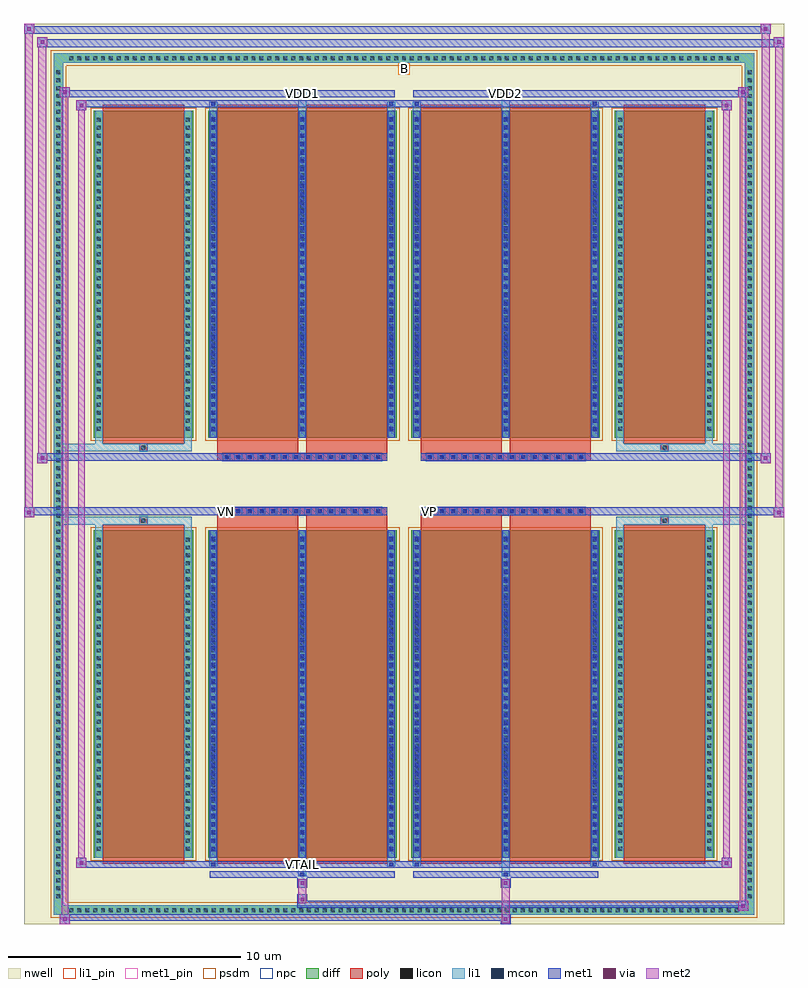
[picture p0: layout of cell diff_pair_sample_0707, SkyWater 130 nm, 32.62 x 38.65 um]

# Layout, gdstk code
import gdstk
lib = gdstk.Library(unit=1e-6, precision=5e-09)
def R(c, l, rs):  # rectangles x0, y0, x1, y1
    for r in rs: c.add(gdstk.rectangle(r[:2], r[2:], *l))
def A(c, l, x, y, w, h, nx, ny, dx, dy):  # array of equal rectangles
    R(c, l, [(x+i*dx, y+j*dy, x+i*dx+w, y+j*dy+h) for i in range(nx) for j in range(ny)])
def P(c, l, *ps):  # polygons
    for p in ps: c.add(gdstk.Polygon(p, *l))
nwell = (64, 20)
diff = (65, 20)
poly = (66, 20)
licon = (66, 44)
li1_pin = (67, 16)
li1 = (67, 20)
mcon = (67, 44)
met1_pin = (68, 16)
met1 = (68, 20)
via = (68, 44)
met2 = (69, 20)
psdm = (94, 20)
npc = (95, 20)

diff_pair_sample_0707 = lib.new_cell('diff_pair_sample_0707')
R(diff_pair_sample_0707, nwell, [(-16.31,-18.89,16.31,19.76), (-13.63,-17.08,-0.01,-0.8), (0.01,-17.08,13.63,-0.8), (-13.63,0.8,-0.01,17.08), (0.01,0.8,13.63,17.08)])
A(diff_pair_sample_0707, diff, -14.485, -18.49, 0.41, 0.41, 85, 2, 0.34, 36.57)
A(diff_pair_sample_0707, diff, -15.04, -17.885, 0.41, 0.41, 1, 105, 0, 0.34)
A(diff_pair_sample_0707, diff, 14.63, -17.885, 0.41, 0.41, 1, 105, 0, 0.34)
R(diff_pair_sample_0707, diff, [(-14.485,-18.49,14.485,-18.08), (-15.04,-17.885,-14.63,17.885), (14.63,-17.885,15.04,17.885), (-13.32,-16.035,-9.05,-1.985), (-8.41,-16.035,-0.32,-1.985), (0.32,-16.035,8.41,-1.985), (9.05,-16.035,13.32,-1.985), (-13.32,1.985,-9.05,16.035), (-8.41,1.985,-0.32,16.035), (0.32,1.985,8.41,16.035), (9.05,1.985,13.32,16.035), (-14.485,18.08,14.485,18.49)])
P(diff_pair_sample_0707, diff, [(15.04,18.49),(-15.04,18.49),(-15.04,-18.08),(-14.63,-18.08),(-14.63,18.08),(14.63,18.08),(14.63,-18.08),(-14.63,-18.08),(-15.04,-18.08),(-15.04,-18.49),(15.04,-18.49)])
A(diff_pair_sample_0707, poly, -7.78, -1.33, 0.33, 0.33, 14, 2, 0.5, 2.33)
A(diff_pair_sample_0707, poly, 0.95, -1.33, 0.33, 0.33, 14, 2, 0.5, 2.33)
R(diff_pair_sample_0707, poly, [(-12.93,-16.285,-9.44,-1.735), (-8.02,-16.285,-4.53,-1.735), (-4.2,-16.285,-0.71,-1.735), (0.71,-16.285,4.2,-1.735), (4.53,-16.285,8.02,-1.735), (9.44,-16.285,12.93,-1.735), (-11.35,-1.735,-11.02,-1.405), (-11.35,-1.735,-11.02,-1.405), (-8.02,-1.735,-4.53,-1.33), (-4.2,-1.735,-0.71,-1.33), (0.71,-1.735,4.2,-1.33), (4.53,-1.735,8.02,-1.33), (11.02,-1.735,11.35,-1.405), (11.02,-1.735,11.35,-1.405), (-8.02,-1.33,-0.71,-1), (0.71,-1.33,8.02,-1), (-8.02,1,-0.71,1.33), (0.71,1,8.02,1.33), (-8.02,1.33,-4.53,1.735), (-4.2,1.33,-0.71,1.735), (0.71,1.33,4.2,1.735), (4.53,1.33,8.02,1.735), (-11.35,1.405,-11.02,1.735), (-11.35,1.405,-11.02,1.735), (11.02,1.405,11.35,1.735), (11.02,1.405,11.35,1.735), (-12.93,1.735,-9.44,16.285), (-8.02,1.735,-4.53,16.285), (-4.2,1.735,-0.71,16.285), (0.71,1.735,4.2,16.285), (4.53,1.735,8.02,16.285), (9.44,1.735,12.93,16.285)])
A(diff_pair_sample_0707, licon, -14.365, -18.37, 0.17, 0.17, 85, 2, 0.34, 36.57)
A(diff_pair_sample_0707, licon, -14.92, -17.765, 0.17, 0.17, 1, 105, 0, 0.34)
A(diff_pair_sample_0707, licon, 14.75, -17.765, 0.17, 0.17, 1, 105, 0, 0.34)
A(diff_pair_sample_0707, licon, -13.18, -15.725, 0.17, 0.17, 1, 40, 0, 0.34)
A(diff_pair_sample_0707, licon, -9.36, -15.725, 0.17, 0.17, 1, 40, 0, 0.34)
A(diff_pair_sample_0707, licon, -8.27, -15.725, 0.17, 0.17, 3, 40, 3.82, 0.34)
A(diff_pair_sample_0707, licon, 0.46, -15.725, 0.17, 0.17, 3, 40, 3.82, 0.34)
A(diff_pair_sample_0707, licon, 9.19, -15.725, 0.17, 0.17, 1, 40, 0, 0.34)
A(diff_pair_sample_0707, licon, 13.01, -15.725, 0.17, 0.17, 1, 40, 0, 0.34)
A(diff_pair_sample_0707, licon, -7.7, -1.25, 0.17, 0.17, 14, 2, 0.5, 2.33)
A(diff_pair_sample_0707, licon, 1.03, -1.25, 0.17, 0.17, 14, 2, 0.5, 2.33)
A(diff_pair_sample_0707, licon, -13.18, 2.295, 0.17, 0.17, 1, 40, 0, 0.34)
A(diff_pair_sample_0707, licon, -9.36, 2.295, 0.17, 0.17, 1, 40, 0, 0.34)
A(diff_pair_sample_0707, licon, -8.27, 2.295, 0.17, 0.17, 3, 40, 3.82, 0.34)
A(diff_pair_sample_0707, licon, 0.46, 2.295, 0.17, 0.17, 3, 40, 3.82, 0.34)
A(diff_pair_sample_0707, licon, 9.19, 2.295, 0.17, 0.17, 1, 40, 0, 0.34)
A(diff_pair_sample_0707, licon, 13.01, 2.295, 0.17, 0.17, 1, 40, 0, 0.34)
R(diff_pair_sample_0707, licon, [(-11.27,-1.655,-11.1,-1.485), (11.1,-1.655,11.27,-1.485), (-11.27,1.485,-11.1,1.655), (11.1,1.485,11.27,1.655)])
R(diff_pair_sample_0707, li1_pin, [(-0.25,17.58,0.25,18.08)])
A(diff_pair_sample_0707, li1, -14.445, -18.45, 0.33, 0.33, 85, 2, 0.34, 36.57)
A(diff_pair_sample_0707, li1, -15, -17.845, 0.33, 0.33, 1, 105, 0, 0.34)
A(diff_pair_sample_0707, li1, 14.67, -17.845, 0.33, 0.33, 1, 105, 0, 0.34)
A(diff_pair_sample_0707, li1, -8.35, -16.035, 0.33, 14.05, 3, 2, 3.82, 18.02)
A(diff_pair_sample_0707, li1, 0.38, -16.035, 0.33, 14.05, 3, 2, 3.82, 18.02)
A(diff_pair_sample_0707, li1, -13.26, -15.805, 0.33, 0.33, 1, 40, 0, 0.34)
A(diff_pair_sample_0707, li1, -9.44, -15.805, 0.33, 0.33, 1, 40, 0, 0.34)
A(diff_pair_sample_0707, li1, -8.35, -15.805, 0.33, 0.33, 3, 40, 3.82, 0.34)
A(diff_pair_sample_0707, li1, 0.38, -15.805, 0.33, 0.33, 3, 40, 3.82, 0.34)
A(diff_pair_sample_0707, li1, 9.11, -15.805, 0.33, 0.33, 1, 40, 0, 0.34)
A(diff_pair_sample_0707, li1, 12.93, -15.805, 0.33, 0.33, 1, 40, 0, 0.34)
A(diff_pair_sample_0707, li1, -8.27, -15.755, 0.17, 0.17, 3, 38, 3.82, 0.36)
A(diff_pair_sample_0707, li1, -8.27, -15.755, 0.17, 13.49, 3, 2, 3.82, 18.02)
A(diff_pair_sample_0707, li1, 0.46, -15.755, 0.17, 0.17, 3, 38, 3.82, 0.36)
A(diff_pair_sample_0707, li1, 0.46, -15.755, 0.17, 13.49, 3, 2, 3.82, 18.02)
A(diff_pair_sample_0707, li1, -7.78, -1.33, 0.33, 0.33, 14, 2, 0.5, 2.33)
A(diff_pair_sample_0707, li1, 0.95, -1.33, 0.33, 0.33, 14, 2, 0.5, 2.33)
A(diff_pair_sample_0707, li1, -13.26, 2.215, 0.33, 0.33, 1, 40, 0, 0.34)
A(diff_pair_sample_0707, li1, -9.44, 2.215, 0.33, 0.33, 1, 40, 0, 0.34)
A(diff_pair_sample_0707, li1, -8.35, 2.215, 0.33, 0.33, 3, 40, 3.82, 0.34)
A(diff_pair_sample_0707, li1, 0.38, 2.215, 0.33, 0.33, 3, 40, 3.82, 0.34)
A(diff_pair_sample_0707, li1, 9.11, 2.215, 0.33, 0.33, 1, 40, 0, 0.34)
A(diff_pair_sample_0707, li1, 12.93, 2.215, 0.33, 0.33, 1, 40, 0, 0.34)
A(diff_pair_sample_0707, li1, -8.27, 2.265, 0.17, 0.17, 3, 38, 3.82, 0.36)
A(diff_pair_sample_0707, li1, 0.46, 2.265, 0.17, 0.17, 3, 38, 3.82, 0.36)
R(diff_pair_sample_0707, li1, [(-15.04,-18.49,-14.63,-18.08), (-15.04,-18.49,-14.63,-18.08), (-14.63,-18.49,14.63,-18.08), (14.63,-18.49,15.04,-18.08), (14.63,-18.49,15.04,-18.08), (-15.04,-18.08,-14.63,18.08), (14.63,-18.08,15.04,18.08), (-4.53,-16.84,-4.2,-16.035), (-4.45,-16.84,-4.28,-16.67), (4.2,-16.84,4.53,-16.035), (4.28,-16.84,4.45,-16.67), (-8.35,-16.41,-8.02,-16.035), (-8.27,-16.41,-8.1,-16.24), (-0.71,-16.41,-0.38,-16.035), (-0.63,-16.41,-0.46,-16.24), (0.38,-16.41,0.71,-16.035), (0.46,-16.41,0.63,-16.24), (8.02,-16.41,8.35,-16.035), (8.1,-16.41,8.27,-16.24), (-13.26,-16.035,-12.93,-1.985), (-9.44,-16.035,-9.11,-1.985), (9.11,-16.035,9.44,-1.985), (12.93,-16.035,13.26,-1.985), (-13.26,-1.985,-12.93,-1.405), (-9.44,-1.985,-9.11,-1.405), (9.11,-1.985,9.44,-1.405), (12.93,-1.985,13.26,-1.405), (-15.04,-1.735,-11.35,-1.405), (-13.26,-1.735,-11.35,-1.405), (-11.35,-1.735,-11.02,-1.405), (-11.02,-1.735,-9.11,-1.405), (9.11,-1.735,11.02,-1.405), (11.02,-1.735,11.35,-1.405), (11.02,-1.735,15.04,-1.405), (11.35,-1.735,13.26,-1.405), (-15.04,1.405,-11.35,1.735), (-13.26,1.405,-11.35,1.735), (-13.26,1.405,-12.93,1.985), (-11.35,1.405,-11.02,1.735), (-11.02,1.405,-9.11,1.735), (-9.44,1.405,-9.11,1.985), (9.11,1.405,11.02,1.735), (9.11,1.405,9.44,1.985), (11.02,1.405,11.35,1.735), (11.02,1.405,15.04,1.735), (11.35,1.405,13.26,1.735), (12.93,1.405,13.26,1.985), (-13.26,1.985,-12.93,16.035), (-9.44,1.985,-9.11,16.035), (9.11,1.985,9.44,16.035), (12.93,1.985,13.26,16.035), (-8.35,16.035,-8.02,16.41), (-4.53,16.035,-4.2,16.84), (-0.71,16.035,-0.38,16.41), (0.38,16.035,0.71,16.41), (4.2,16.035,4.53,16.84), (8.02,16.035,8.35,16.41), (-8.27,16.24,-8.1,16.41), (-0.63,16.24,-0.46,16.41), (0.46,16.24,0.63,16.41), (8.1,16.24,8.27,16.41), (-4.45,16.67,-4.28,16.84), (4.28,16.67,4.45,16.84), (-15.04,18.08,-14.63,18.49), (-15.04,18.08,-14.63,18.49), (-14.63,18.08,14.63,18.49), (14.63,18.08,15.04,18.49), (14.63,18.08,15.04,18.49)])
A(diff_pair_sample_0707, mcon, -8.27, -15.755, 0.17, 0.17, 3, 38, 3.82, 0.36)
A(diff_pair_sample_0707, mcon, 0.46, -15.755, 0.17, 0.17, 3, 38, 3.82, 0.36)
A(diff_pair_sample_0707, mcon, -7.7, -1.25, 0.17, 0.17, 14, 2, 0.5, 2.33)
A(diff_pair_sample_0707, mcon, 1.03, -1.25, 0.17, 0.17, 14, 2, 0.5, 2.33)
A(diff_pair_sample_0707, mcon, -8.27, 2.265, 0.17, 0.17, 3, 38, 3.82, 0.36)
A(diff_pair_sample_0707, mcon, 0.46, 2.265, 0.17, 0.17, 3, 38, 3.82, 0.36)
R(diff_pair_sample_0707, mcon, [(-4.45,-16.84,-4.28,-16.67), (4.28,-16.84,4.45,-16.67), (-8.27,-16.41,-8.1,-16.24), (-0.63,-16.41,-0.46,-16.24), (0.46,-16.41,0.63,-16.24), (8.1,-16.41,8.27,-16.24), (-8.27,16.24,-8.1,16.41), (-0.63,16.24,-0.46,16.41), (0.46,16.24,0.63,16.41), (8.1,16.24,8.27,16.41), (-4.45,16.67,-4.28,16.84), (4.28,16.67,4.45,16.84)])
R(diff_pair_sample_0707, met1_pin, [(-4.5,-16.45,-4.23,-16.18), (-7.75,-1.29,-7.48,-1.02), (0.98,-1.29,1.25,-1.02), (-4.5,16.63,-4.23,16.9), (4.23,16.63,4.5,16.9)])
A(diff_pair_sample_0707, met1, -8.33, -16.035, 0.29, 14.05, 3, 2, 3.82, 18.02)
A(diff_pair_sample_0707, met1, 0.4, -16.035, 0.29, 14.05, 3, 2, 3.82, 18.02)
A(diff_pair_sample_0707, met1, -8.33, -15.815, 0.29, 0.29, 3, 38, 3.82, 0.36)
A(diff_pair_sample_0707, met1, 0.4, -15.815, 0.29, 0.29, 3, 38, 3.82, 0.36)
A(diff_pair_sample_0707, met1, -7.76, -1.31, 0.29, 0.29, 14, 2, 0.5, 2.33)
A(diff_pair_sample_0707, met1, 0.97, -1.31, 0.29, 0.29, 14, 2, 0.5, 2.33)
A(diff_pair_sample_0707, met1, -8.33, 2.205, 0.29, 0.29, 3, 38, 3.82, 0.36)
A(diff_pair_sample_0707, met1, 0.4, 2.205, 0.29, 0.29, 3, 38, 3.82, 0.36)
R(diff_pair_sample_0707, met1, [(-14.77,-18.89,-14.34,-18.46), (4.15,-18.89,4.58,-18.46), (-14.77,-18.75,4.58,-18.46), (14.34,-18.32,14.77,-17.89), (-4.58,-18.18,14.77,-17.89), (-4.58,-18.04,-4.15,-17.61), (-4.58,-17.33,-4.15,-16.9), (4.15,-17.33,4.58,-16.9), (-8.33,-16.9,-0.4,-16.61), (-4.51,-16.9,-4.22,-16.61), (0.4,-16.9,8.33,-16.61), (4.22,-16.9,4.51,-16.61), (-14.06,-16.47,-13.63,-16.04), (-14.06,-16.47,-8.33,-16.18), (-8.33,-16.47,-8.04,-16.18), (-8.33,-16.47,-0.4,-16.18), (-0.69,-16.47,-0.4,-16.18), (-0.4,-16.47,0.4,-16.18), (0.4,-16.47,0.69,-16.18), (0.4,-16.47,8.33,-16.18), (8.04,-16.47,8.33,-16.18), (8.33,-16.47,14.06,-16.18), (13.63,-16.47,14.06,-16.04), (-16.31,-1.43,-15.88,-1), (15.88,-1.43,16.31,-1), (-16.31,-1.33,-0.71,-1), (-8.02,-1.33,-0.71,-1), (0.71,-1.33,8.02,-1), (0.71,-1.33,16.31,-1), (-15.74,0.9,-15.31,1.33), (15.31,0.9,15.74,1.33), (-15.74,1,-8.02,1.33), (-8.02,1,-0.71,1.33), (0.71,1,8.02,1.33), (8.02,1,15.74,1.33), (-14.06,16.04,-13.63,16.47), (13.63,16.04,14.06,16.47), (-14.06,16.18,-8.33,16.47), (-8.33,16.18,-8.04,16.47), (-8.33,16.18,-0.4,16.47), (-0.69,16.18,-0.4,16.47), (-0.4,16.18,0.4,16.47), (0.4,16.18,0.69,16.47), (0.4,16.18,8.33,16.47), (8.04,16.18,8.33,16.47), (8.33,16.18,14.06,16.47), (-14.77,16.61,-14.34,17.04), (-14.77,16.61,-8.33,16.9), (-8.33,16.61,-0.4,16.9), (-4.51,16.61,-4.22,16.9), (0.4,16.61,8.33,16.9), (4.22,16.61,4.51,16.9), (8.33,16.61,14.77,16.9), (14.34,16.61,14.77,17.04), (-15.74,18.76,-15.31,19.19), (-15.74,18.76,-13.63,19.09), (-13.63,18.76,13.63,19.09), (13.63,18.76,16.31,19.09), (15.88,18.76,16.31,19.19), (-16.31,19.33,-15.88,19.76), (-16.31,19.33,-13.63,19.66), (-13.63,19.33,13.63,19.66), (13.63,19.33,15.74,19.66), (15.31,19.33,15.74,19.76)])
R(diff_pair_sample_0707, via, [(-14.63,-18.75,-14.48,-18.6), (4.29,-18.75,4.44,-18.6), (14.48,-18.18,14.63,-18.03), (-4.44,-17.9,-4.29,-17.75), (-4.44,-17.19,-4.29,-17.04), (4.29,-17.19,4.44,-17.04), (-13.92,-16.33,-13.77,-16.18), (13.77,-16.33,13.92,-16.18), (-16.17,-1.29,-16.02,-1.14), (16.02,-1.29,16.17,-1.14), (-15.6,1.04,-15.45,1.19), (15.45,1.04,15.6,1.19), (-13.92,16.18,-13.77,16.33), (13.77,16.18,13.92,16.33), (-14.63,16.75,-14.48,16.9), (14.48,16.75,14.63,16.9), (-15.6,18.9,-15.45,19.05), (16.02,18.9,16.17,19.05), (-16.17,19.47,-16.02,19.62), (15.45,19.47,15.6,19.62)])
R(diff_pair_sample_0707, met2, [(-14.77,-18.89,-14.34,-18.46), (-14.7,-18.89,-14.41,17.04), (-14.41,-18.89,-14.34,-18.46), (-14.72,-18.84,-14.39,-18.51), (4.2,-18.84,4.53,-18.51), (4.2,-18.51,4.53,-17.28), (14.34,-18.32,14.77,-17.89), (14.41,-18.32,14.7,17.04), (14.7,-18.32,14.77,-17.89), (14.39,-18.27,14.72,-17.94), (-4.53,-17.99,-4.2,-17.66), (-4.53,-17.66,-4.2,-17.28), (-4.53,-17.28,-4.2,-16.95), (4.2,-17.28,4.53,-16.95), (-14.06,-16.47,-13.63,-16.04), (-13.99,-16.47,-13.7,16.47), (-13.7,-16.47,-13.63,-16.04), (13.63,-16.47,14.06,-16.04), (13.7,-16.47,13.99,16.47), (13.99,-16.47,14.06,-16.04), (-14.01,-16.42,-13.68,-16.09), (13.68,-16.42,14.01,-16.09), (-16.31,-1.43,-15.88,-1), (-16.26,-1.43,-15.93,19.76), (-15.93,-1.43,-15.88,-1), (15.88,-1.43,16.31,-1), (15.93,-1.43,16.26,19.19), (16.26,-1.43,16.31,-1), (-16.26,-1.38,-15.93,-1.05), (15.93,-1.38,16.26,-1.05), (-15.74,0.9,-15.31,1.33), (-15.69,0.9,-15.36,19.19), (-15.36,0.9,-15.31,1.33), (15.31,0.9,15.74,1.33), (15.36,0.9,15.69,19.76), (15.69,0.9,15.74,1.33), (-15.69,0.95,-15.36,1.28), (15.36,0.95,15.69,1.28), (-14.06,16.04,-13.63,16.47), (-13.7,16.04,-13.63,16.47), (13.63,16.04,14.06,16.47), (13.99,16.04,14.06,16.47), (-14.01,16.09,-13.68,16.42), (13.68,16.09,14.01,16.42), (-14.77,16.61,-14.34,17.04), (-14.41,16.61,-14.34,17.04), (14.34,16.61,14.77,17.04), (14.7,16.61,14.77,17.04), (-14.72,16.66,-14.39,16.99), (14.39,16.66,14.72,16.99), (-15.74,18.76,-15.31,19.19), (-15.36,18.76,-15.31,19.19), (15.88,18.76,16.31,19.19), (16.26,18.76,16.31,19.19), (-15.69,18.81,-15.36,19.14), (15.93,18.81,16.26,19.14), (-16.31,19.33,-15.88,19.76), (-15.93,19.33,-15.88,19.76), (15.31,19.33,15.74,19.76), (15.69,19.33,15.74,19.76), (-16.26,19.38,-15.93,19.71), (15.36,19.38,15.69,19.71)])
R(diff_pair_sample_0707, psdm, [(-13.45,-16.165,-8.92,-1.855), (-8.54,-16.165,-0.19,-1.855), (0.19,-16.165,8.54,-1.855), (8.92,-16.165,13.45,-1.855), (-13.45,1.855,-8.92,16.165), (-8.54,1.855,-0.19,16.165), (0.19,1.855,8.54,16.165), (8.92,1.855,13.45,16.165)])
P(diff_pair_sample_0707, psdm, [(15.17,18.62),(-15.17,18.62),(-15.17,-17.95),(-14.5,-17.95),(-14.5,17.95),(14.5,17.95),(14.5,-17.95),(-14.5,-17.95),(-15.17,-17.95),(-15.17,-18.62),(15.17,-18.62)])
A(diff_pair_sample_0707, npc, -7.8, -1.35, 0.37, 0.37, 14, 2, 0.5, 2.33)
A(diff_pair_sample_0707, npc, 0.93, -1.35, 0.37, 0.37, 14, 2, 0.5, 2.33)
R(diff_pair_sample_0707, npc, [(-11.37,-1.755,-11,-1.385), (11,-1.755,11.37,-1.385), (-7.8,-1.35,-6.93,-0.98), (-7.8,-1.35,-6.93,-0.98), (-7.3,-1.35,-6.43,-0.98), (-7.3,-1.35,-6.43,-0.98), (-6.8,-1.35,-5.93,-0.98), (-6.8,-1.35,-5.93,-0.98), (-6.3,-1.35,-5.43,-0.98), (-6.3,-1.35,-5.43,-0.98), (-5.8,-1.35,-4.93,-0.98), (-5.8,-1.35,-4.93,-0.98), (-5.3,-1.35,-4.43,-0.98), (-5.3,-1.35,-4.43,-0.98), (-4.8,-1.35,-3.93,-0.98), (-4.8,-1.35,-3.93,-0.98), (-4.3,-1.35,-3.43,-0.98), (-4.3,-1.35,-3.43,-0.98), (-3.8,-1.35,-2.93,-0.98), (-3.8,-1.35,-2.93,-0.98), (-3.3,-1.35,-2.43,-0.98), (-3.3,-1.35,-2.43,-0.98), (-2.8,-1.35,-1.93,-0.98), (-2.8,-1.35,-1.93,-0.98), (-2.3,-1.35,-1.43,-0.98), (-2.3,-1.35,-1.43,-0.98), (-1.8,-1.35,-0.93,-0.98), (-1.8,-1.35,-0.93,-0.98), (0.93,-1.35,1.8,-0.98), (0.93,-1.35,1.8,-0.98), (1.43,-1.35,2.3,-0.98), (1.43,-1.35,2.3,-0.98), (1.93,-1.35,2.8,-0.98), (1.93,-1.35,2.8,-0.98), (2.43,-1.35,3.3,-0.98), (2.43,-1.35,3.3,-0.98), (2.93,-1.35,3.8,-0.98), (2.93,-1.35,3.8,-0.98), (3.43,-1.35,4.3,-0.98), (3.43,-1.35,4.3,-0.98), (3.93,-1.35,4.8,-0.98), (3.93,-1.35,4.8,-0.98), (4.43,-1.35,5.3,-0.98), (4.43,-1.35,5.3,-0.98), (4.93,-1.35,5.8,-0.98), (4.93,-1.35,5.8,-0.98), (5.43,-1.35,6.3,-0.98), (5.43,-1.35,6.3,-0.98), (5.93,-1.35,6.8,-0.98), (5.93,-1.35,6.8,-0.98), (6.43,-1.35,7.3,-0.98), (6.43,-1.35,7.3,-0.98), (6.93,-1.35,7.8,-0.98), (6.93,-1.35,7.8,-0.98), (-7.8,0.98,-6.93,1.35), (-7.8,0.98,-6.93,1.35), (-7.3,0.98,-6.43,1.35), (-7.3,0.98,-6.43,1.35), (-6.8,0.98,-5.93,1.35), (-6.8,0.98,-5.93,1.35), (-6.3,0.98,-5.43,1.35), (-6.3,0.98,-5.43,1.35), (-5.8,0.98,-4.93,1.35), (-5.8,0.98,-4.93,1.35), (-5.3,0.98,-4.43,1.35), (-5.3,0.98,-4.43,1.35), (-4.8,0.98,-3.93,1.35), (-4.8,0.98,-3.93,1.35), (-4.3,0.98,-3.43,1.35), (-4.3,0.98,-3.43,1.35), (-3.8,0.98,-2.93,1.35), (-3.8,0.98,-2.93,1.35), (-3.3,0.98,-2.43,1.35), (-3.3,0.98,-2.43,1.35), (-2.8,0.98,-1.93,1.35), (-2.8,0.98,-1.93,1.35), (-2.3,0.98,-1.43,1.35), (-2.3,0.98,-1.43,1.35), (-1.8,0.98,-0.93,1.35), (-1.8,0.98,-0.93,1.35), (0.93,0.98,1.8,1.35), (0.93,0.98,1.8,1.35), (1.43,0.98,2.3,1.35), (1.43,0.98,2.3,1.35), (1.93,0.98,2.8,1.35), (1.93,0.98,2.8,1.35), (2.43,0.98,3.3,1.35), (2.43,0.98,3.3,1.35), (2.93,0.98,3.8,1.35), (2.93,0.98,3.8,1.35), (3.43,0.98,4.3,1.35), (3.43,0.98,4.3,1.35), (3.93,0.98,4.8,1.35), (3.93,0.98,4.8,1.35), (4.43,0.98,5.3,1.35), (4.43,0.98,5.3,1.35), (4.93,0.98,5.8,1.35), (4.93,0.98,5.8,1.35), (5.43,0.98,6.3,1.35), (5.43,0.98,6.3,1.35), (5.93,0.98,6.8,1.35), (5.93,0.98,6.8,1.35), (6.43,0.98,7.3,1.35), (6.43,0.98,7.3,1.35), (6.93,0.98,7.8,1.35), (6.93,0.98,7.8,1.35), (-11.37,1.385,-11,1.755), (11,1.385,11.37,1.755)])
diff_pair_sample_0707.add(gdstk.Label('VTAIL', (-4.365,-16.315), layer=68, texttype=5))
diff_pair_sample_0707.add(gdstk.Label('VN', (-7.615,-1.155), layer=68, texttype=5))
diff_pair_sample_0707.add(gdstk.Label('VP', (1.115,-1.155), layer=68, texttype=5))
diff_pair_sample_0707.add(gdstk.Label('B', (0,17.83), layer=67, texttype=5))
diff_pair_sample_0707.add(gdstk.Label('VDD2', (4.365,16.765), layer=68, texttype=5))
diff_pair_sample_0707.add(gdstk.Label('VDD1', (-4.365,16.765), layer=68, texttype=5))

lib.write_gds('diff_pair_sample_0707.gds')
